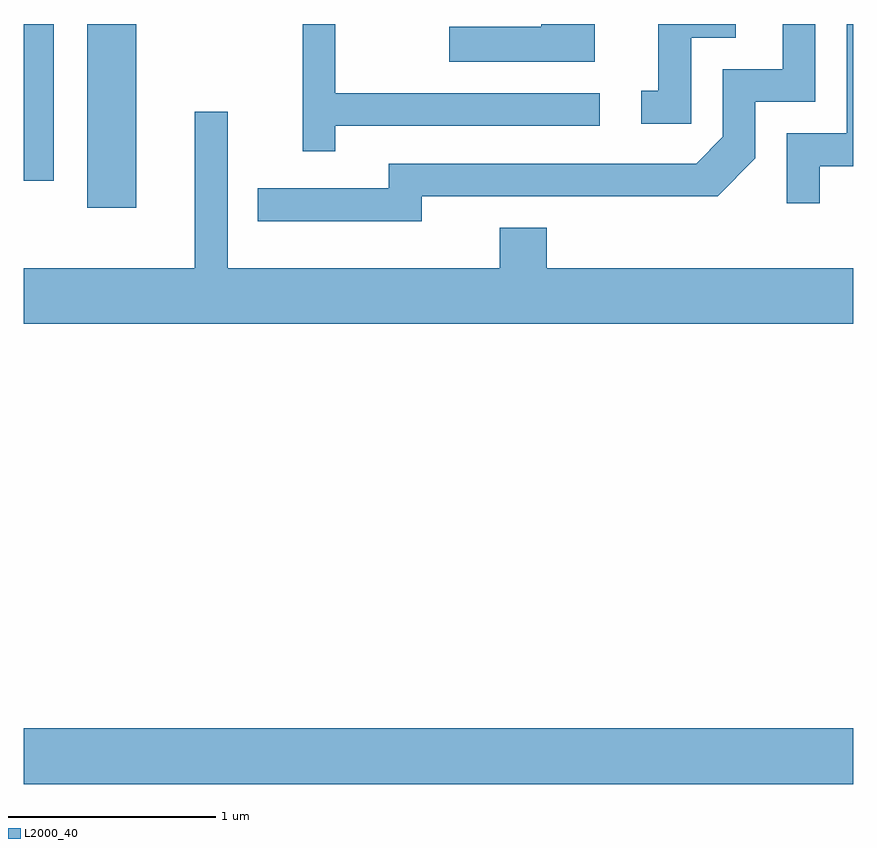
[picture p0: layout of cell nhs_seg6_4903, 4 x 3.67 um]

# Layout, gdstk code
import gdstk
lib = gdstk.Library(unit=1e-6, precision=1e-09)
def R(c, l, rs):  # rectangles x0, y0, x1, y1
    for r in rs: c.add(gdstk.rectangle(r[:2], r[2:], *l))
def P(c, l, *ps):  # polygons
    for p in ps: c.add(gdstk.Polygon(p, *l))
L2000_40 = (2000, 40)

nhs_seg6_4903 = lib.new_cell('nhs_seg6_4903')
R(nhs_seg6_4903, L2000_40, [(335.611,1534.496,339.611,1534.764), (335.916,1537.276,336.154,1538.162), (335.611,1537.406,335.754,1538.162)])
P(nhs_seg6_4903, L2000_40, [(337.114,1537.671),(338.388,1537.671),(338.388,1537.829),(337.114,1537.829),(337.114,1538.162),(336.956,1538.162),(336.956,1537.548),(337.114,1537.548)],
  [(339.449,1537.476),(339.611,1537.476),(339.611,1538.162),(339.581,1538.162),(339.581,1537.634),(339.291,1537.634),(339.291,1537.298),(339.449,1537.298)],
  [(337.529,1537.331),(338.957,1537.331),(339.139,1537.514),(339.139,1537.786),(339.429,1537.786),(339.429,1538.162),(339.271,1538.162),(339.271,1537.944),(338.981,1537.944),(338.981,1537.617),(338.854,1537.489),(337.371,1537.489),(337.371,1537.369),(336.738,1537.369),(336.738,1537.211),(337.529,1537.211)],
  [(338.364,1538.162),(338.106,1538.162),(338.106,1538.149),(337.663,1538.149),(337.663,1537.981),(338.364,1537.981)],
  [(338.829,1538.096),(339.044,1538.096),(339.044,1538.162),(338.671,1538.162),(338.671,1537.839),(338.588,1537.839),(338.588,1537.681),(338.829,1537.681)],
  [(339.611,1536.984),(338.134,1536.984),(338.134,1537.179),(337.906,1537.179),(337.906,1536.984),(336.594,1536.984),(336.594,1537.738),(336.436,1537.738),(336.436,1536.984),(335.611,1536.984),(335.611,1536.716),(339.611,1536.716)])

lib.write_gds('nhs_seg6_4903.gds')
